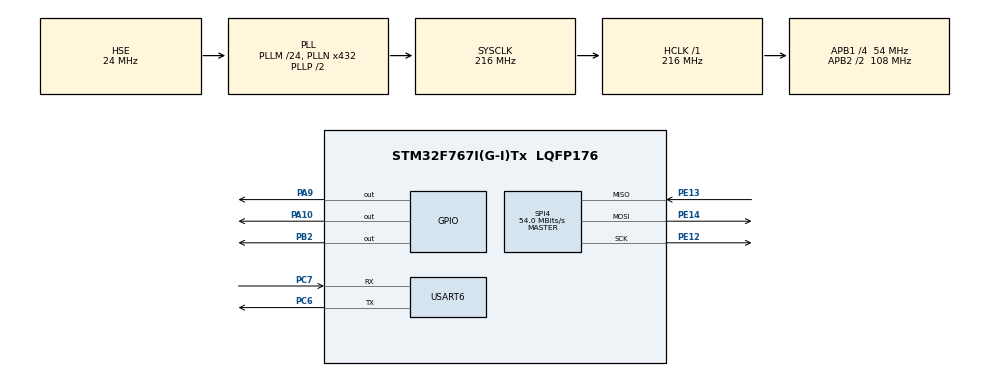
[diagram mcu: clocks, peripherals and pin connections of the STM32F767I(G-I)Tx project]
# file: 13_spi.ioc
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Mcu.Family=STM32F7
Mcu.Name=STM32F767I(G-I)Tx
Mcu.Package=LQFP176
NVIC.PriorityGroup=NVIC_PRIORITYGROUP_4
NVIC.USART6_IRQn=true\:0\:0\:false\:false\:true
PA10.GPIO_PuPd=GPIO_PULLUP
PA10.GPIO_Speed=GPIO_SPEED_FREQ_VERY_HIGH
PA10.PinState=GPIO_PIN_SET
PA10.Signal=GPIO_Output
PA9.GPIO_PuPd=GPIO_PULLUP
PA9.GPIO_Speed=GPIO_SPEED_FREQ_VERY_HIGH
PA9.PinState=GPIO_PIN_SET
PA9.Signal=GPIO_Output
PB2.GPIO_PuPd=GPIO_PULLUP
PB2.GPIO_Speed=GPIO_SPEED_FREQ_VERY_HIGH
PB2.PinState=GPIO_PIN_SET
PB2.Signal=GPIO_Output
PC6.Mode=Asynchronous
PC6.Signal=USART6_TX
PC7.Mode=Asynchronous
PC7.Signal=USART6_RX
PE12.Mode=Full_Duplex_Master
PE12.Signal=SPI4_SCK
PE13.Mode=Full_Duplex_Master
PE13.Signal=SPI4_MISO
PE14.Mode=Full_Duplex_Master
PE14.Signal=SPI4_MOSI
PH0/OSC_IN.Mode=HSE-External-Oscillator
PH0/OSC_IN.Signal=RCC_OSC_IN
PH1/OSC_OUT.Mode=HSE-External-Oscillator
PH1/OSC_OUT.Signal=RCC_OSC_OUT
ProjectManager.HeapSize=0x200
ProjectManager.StackSize=0x400
ProjectManager.TargetToolchain=MDK-ARM V5
RCC.AHBFreq_Value=216000000
RCC.APB1CLKDivider=RCC_HCLK_DIV4
RCC.APB1Freq_Value=54000000
RCC.APB1TimFreq_Value=108000000
RCC.APB2CLKDivider=RCC_HCLK_DIV2
RCC.APB2Freq_Value=108000000
RCC.APB2TimFreq_Value=216000000
RCC.CortexFreq_Value=216000000
RCC.HCLKFreq_Value=216000000
RCC.HSE_VALUE=24000000
RCC.HSI_VALUE=16000000
RCC.LSE_VALUE=32768
RCC.PLLM=24
RCC.PLLN=432
RCC.PLLSourceVirtual=RCC_PLLSOURCE_HSE
RCC.SYSCLKFreq_VALUE=216000000
RCC.SYSCLKSource=RCC_SYSCLKSOURCE_PLLCLK
RCC.USBFreq_Value=216000000
RCC.VCOOutputFreq_Value=432000000
SPI4.BaudRatePrescaler=SPI_BAUDRATEPRESCALER_2
SPI4.CalculateBaudRate=54.0 MBits/s
SPI4.DataSize=SPI_DATASIZE_8BIT
SPI4.Direction=SPI_DIRECTION_2LINES
SPI4.Mode=SPI_MODE_MASTER
SPI4.VirtualType=VM_MASTER
USART6.VirtualMode-Asynchronous=VM_ASYNC
USART6.WordLength=WORDLENGTH_8B
board=13_spi

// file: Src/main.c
/**
  ******************************************************************************
  * File Name          : main.c
  * Description        : Main program body
  ******************************************************************************
  ** This notice applies to any and all portions of this file
  * that are not between comment pairs USER CODE BEGIN and
  * USER CODE END. Other portions of this file, whether
  * inserted by the user or by software development tools
  * are owned by their respective copyright owners.
  *
  * COPYRIGHT(c) 2017 STMicroelectronics
  *
  * Redistribution and use in source and binary forms, with or without modification,
  * are permitted provided that the following conditions are met:
  *   1. Redistributions of source code must retain the above copyright notice,
  *      this list of conditions and the following disclaimer.
  *   2. Redistributions in binary form must reproduce the above copyright notice,
  *      this list of conditions and the following disclaimer in the documentation
  *      and/or other materials provided with the distribution.
  *   3. Neither the name of STMicroelectronics nor the names of its contributors
  *      may be used to endorse or promote products derived from this software
  *      without specific prior written permission.
  *
  * THIS SOFTWARE IS PROVIDED BY THE COPYRIGHT HOLDERS AND CONTRIBUTORS "AS IS"
  * AND ANY EXPRESS OR IMPLIED WARRANTIES, INCLUDING, BUT NOT LIMITED TO, THE
  * IMPLIED WARRANTIES OF MERCHANTABILITY AND FITNESS FOR A PARTICULAR PURPOSE ARE
  * DISCLAIMED. IN NO EVENT SHALL THE COPYRIGHT HOLDER OR CONTRIBUTORS BE LIABLE
  * FOR ANY DIRECT, INDIRECT, INCIDENTAL, SPECIAL, EXEMPLARY, OR CONSEQUENTIAL
  * DAMAGES (INCLUDING, BUT NOT LIMITED TO, PROCUREMENT OF SUBSTITUTE GOODS OR
  * SERVICES; LOSS OF USE, DATA, OR PROFITS; OR BUSINESS INTERRUPTION) HOWEVER
  * CAUSED AND ON ANY THEORY OF LIABILITY, WHETHER IN CONTRACT, STRICT LIABILITY,
  * OR TORT (INCLUDING NEGLIGENCE OR OTHERWISE) ARISING IN ANY WAY OUT OF THE USE
  * OF THIS SOFTWARE, EVEN IF ADVISED OF THE POSSIBILITY OF SUCH DAMAGE.
  *
  ******************************************************************************
  */
#include "main.h"
#include "stm32f7xx_hal.h"
#include "spi.h"
#include "usart.h"
#include "gpio.h"

/* USER CODE BEGIN Includes */
#include "spi4.h"
#include "usart6.h"

#include <ctype.h>
#include <string.h>
#include <stdlib.h>
#include <stdio.h>
/* USER CODE END Includes */

/* USER CODE BEGIN PV */
/* Private variables ---------------------------------------------------------*/

/* USER CODE END PV */

void SystemClock_Config(void);

/* USER CODE BEGIN PFP */
/* Private function prototypes -----------------------------------------------*/

/* USER CODE END PFP */

/* USER CODE BEGIN 0 */
/*
	实验现象：

	注：
	本实验先烧写ARM代码，再烧写FPGA程序.

	本实验ARM 与 FPGA实验SPI通信，ARM作为主器件，FPGA作为从器件，
	通过ARM发送数据控制LED，从机回复HELLO.

	命令格式
	LEDR\CR\LF    ARM·LED、FPGA·LED红色点亮
	LEDG\CR\LF    ARM·LED、FPGA·LED绿色点亮
	LEDB\CR\LF    ARM·LED、FPGA·LED蓝色点亮
*/
/* USER CODE END 0 */

int main(void)
{

  /* USER CODE BEGIN 1 */
	int i;
	char buffer[20];
	char spi_buffer[20];
  /* USER CODE END 1 */

  /* MCU Configuration----------------------------------------------------------*/

  /* Reset of all peripherals, Initializes the Flash interface and the Systick. */
  HAL_Init();

  /* Configure the system clock */
  SystemClock_Config();

  /* Initialize all configured peripherals */
  MX_GPIO_Init();
  MX_SPI4_Init();
  MX_USART6_UART_Init();

  /* USER CODE BEGIN 2 */
	usart6.initialize(115200);
	usart6.printf("Hello,I am iCore4!\r\n");
	LED_GREEN_ON;
  /* USER CODE END 2 */

  /* Infinite loop */
  while (1)
  {

  /* USER CODE BEGIN 3 */
		if(usart6.receive_ok_flag == 1){
			usart6.receive_ok_flag = 0;
			for(i = 0;i < 20;i++){
				buffer[i] = tolower(usart6.receive_buffer[i]);
			}
			//比较接收信息
			if(memcmp(buffer,"ledr",strlen("ledr")) == 0){
				LED_RED_ON;
				LED_GREEN_OFF;
				LED_BLUE_OFF;
			}
			if(memcmp(buffer,"ledg",strlen("ledg")) == 0){
				LED_GREEN_ON;
				LED_RED_OFF;
				LED_BLUE_OFF;
			}
			if(memcmp(buffer,"ledb",strlen("ledb")) == 0){
				LED_BLUE_ON;
				LED_GREEN_OFF;
				LED_RED_OFF;
			}
			spi4.write(strlen(buffer),(unsigned char *)buffer);
			for (i = 0;i < 100; i++);

			SPI4_CS_OFF;
			for(i = 0; i < 5; i++){                                               //SPI接收数据
				spi_buffer[i] = spi4.send_data(0x00);
			}
			SPI4_CS_ON;

			usart6.printf(spi_buffer);
		}
  }
  /* USER CODE END 3 */

}

/** System Clock Configuration
*/
void SystemClock_Config(void)
{

  RCC_OscInitTypeDef RCC_OscInitStruct;
  RCC_ClkInitTypeDef RCC_ClkInitStruct;
  RCC_PeriphCLKInitTypeDef PeriphClkInitStruct;

    /**Configure the main internal regulator output voltage
    */
  __HAL_RCC_PWR_CLK_ENABLE();

  __HAL_PWR_VOLTAGESCALING_CONFIG(PWR_REGULATOR_VOLTAGE_SCALE1);

    /**Initializes the CPU, AHB and APB busses clocks
    */
  RCC_OscInitStruct.OscillatorType = RCC_OSCILLATORTYPE_HSE;
  RCC_OscInitStruct.HSEState = RCC_HSE_ON;
  RCC_OscInitStruct.PLL.PLLState = RCC_PLL_ON;
  RCC_OscInitStruct.PLL.PLLSource = RCC_PLLSOURCE_HSE;
  RCC_OscInitStruct.PLL.PLLM = 24;
  RCC_OscInitStruct.PLL.PLLN = 432;
  RCC_OscInitStruct.PLL.PLLP = RCC_PLLP_DIV2;
  RCC_OscInitStruct.PLL.PLLQ = 2;
  if (HAL_RCC_OscConfig(&RCC_OscInitStruct) != HAL_OK)
  {
    _Error_Handler(__FILE__, __LINE__);
  }

    /**Activate the Over-Drive mode
    */
  if (HAL_PWREx_EnableOverDrive() != HAL_OK)
  {
    _Error_Handler(__FILE__, __LINE__);
  }

    /**Initializes the CPU, AHB and APB busses clocks
    */
  RCC_ClkInitStruct.ClockType = RCC_CLOCKTYPE_HCLK|RCC_CLOCKTYPE_SYSCLK
                              |RCC_CLOCKTYPE_PCLK1|RCC_CLOCKTYPE_PCLK2;
  RCC_ClkInitStruct.SYSCLKSource = RCC_SYSCLKSOURCE_PLLCLK;
  RCC_ClkInitStruct.AHBCLKDivider = RCC_SYSCLK_DIV1;
  RCC_ClkInitStruct.APB1CLKDivider = RCC_HCLK_DIV4;
  RCC_ClkInitStruct.APB2CLKDivider = RCC_HCLK_DIV2;

  if (HAL_RCC_ClockConfig(&RCC_ClkInitStruct, FLASH_LATENCY_7) != HAL_OK)
  {
    _Error_Handler(__FILE__, __LINE__);
  }

  PeriphClkInitStruct.PeriphClockSelection = RCC_PERIPHCLK_USART6;
  PeriphClkInitStruct.Usart6ClockSelection = RCC_USART6CLKSOURCE_PCLK2;
  if (HAL_RCCEx_PeriphCLKConfig(&PeriphClkInitStruct) != HAL_OK)
  {
    _Error_Handler(__FILE__, __LINE__);
  }

    /**Configure the Systick interrupt time
    */
  HAL_SYSTICK_Config(HAL_RCC_GetHCLKFreq()/1000);

    /**Configure the Systick
    */
  HAL_SYSTICK_CLKSourceConfig(SYSTICK_CLKSOURCE_HCLK);

  /* SysTick_IRQn interrupt configuration */
  HAL_NVIC_SetPriority(SysTick_IRQn, 0, 0);
}

void _Error_Handler(char * file, int line)
{
  while(1)
  {
  }
}

/************************ (C) COPYRIGHT STMicroelectronics *****END OF FILE****/
